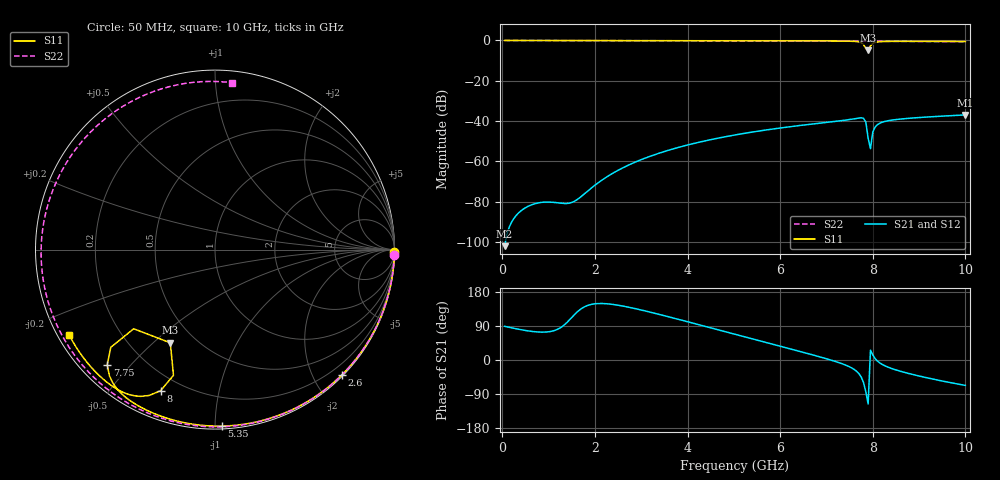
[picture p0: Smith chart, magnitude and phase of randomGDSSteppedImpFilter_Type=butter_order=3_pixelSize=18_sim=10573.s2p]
! freq	dB(S11)	phase(S11)	dB(S12)	phase(S12)
!  dB(S21)	phase(S21)	dB(S22)	phase(S22)
!S-par simulation data
#  GHz  S  DB  R 50
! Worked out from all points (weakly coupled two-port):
!   200 points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, 50 MHz to 10 GHz, reference 50 ohm
!   highest |S21| = -36.94 dB at 10 GHz (marker M1); lowest = -102.1 dB at 50 MHz (marker M2)
!   lowest |S11| = -4.8 dB at 7.9 GHz (marker M3), VSWR 3.72, Z = 18.3 - j28.4 ohm
!   |S11| at or under -10 dB: nowhere
!   |S22| runs from -0.6 to 0.0 dB; largest |S21 - S12| = 0
!   S11 on the Smith chart (normalised r, x): 50 MHz: open; 2.6 GHz: 0.02, -2.44; 5.35 GHz: 0.02, -1.04; 7.75 GHz: 0.08, -0.43; 8 GHz: 0.13, -0.68; 10 GHz: 0.03, -0.27
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0.05  -0.00 -0.9  -102.07 88.9  -102.07 88.9  -0.00 -1.8
0.75  -0.02 -13.1  -80.75 74.1  -80.75 74.1  -0.03 -26.4
1.5  -0.03 -26.1  -80.39 112.2  -80.39 112.2  -0.06 -51.7
1.75  -0.04 -30.3  -76.55 138.7  -76.55 138.7  -0.07 -59.8
2.15  -0.05 -37.1  -69.32 149.1  -69.32 149.1  -0.09 -72.4
2.6  -0.06 -44.6  -63.23 142.4  -63.23 142.4  -0.10 -86.0
3.4  -0.08 -57.6  -55.83 120.0  -55.83 120.0  -0.13 -108.6
4.25  -0.10 -71.0  -50.49 92.9  -50.49 92.9  -0.16 -130.9
5.05  -0.13 -83.2  -46.79 67.0  -46.79 67.0  -0.20 -150.7
5.35  -0.14 -87.7  -45.63 57.3  -45.63 57.3  -0.22 -157.9
6.7  -0.21 -107.9  -41.45 13.6  -41.45 13.6  -0.30 170.0
7.5  -0.36 -122.3  -39.25 -18.1  -39.25 -18.1  -0.36 150.7
7.75  -1.12 -133.1  -38.38 -44.9  -38.38 -44.9  -0.38 144.5
7.8  -1.98 -136.8  -38.62 -59.3  -38.62 -59.3  -0.39 143.3
7.85  -3.98 -135.8  -40.43 -83.8  -40.43 -83.8  -0.39 142.0
7.9  -4.79 -115.6  -48.55 -116.0  -48.55 -116.0  -0.40 140.8
7.95  -2.64 -108.3  -53.68 26.0  -53.68 26.0  -0.40 139.5
8  -1.49 -111.1  -45.47 13.2  -45.47 13.2  -0.40 138.3
8.1  -0.76 -116.9  -41.80 -2.8  -41.80 -2.8  -0.41 135.7
8.35  -0.45 -124.4  -39.76 -19.9  -39.76 -19.9  -0.43 129.3
9.2  -0.44 -138.4  -37.95 -47.8  -37.95 -47.8  -0.51 106.7
10  -0.53 -149.8  -36.94 -67.1  -36.94 -67.1  -0.59 84.1
